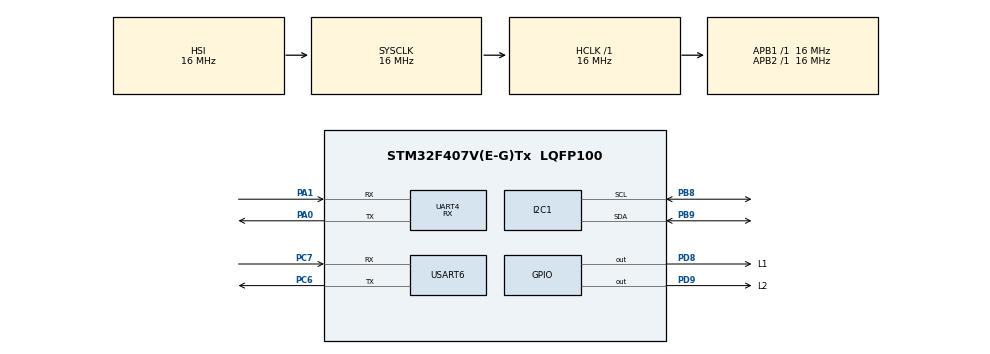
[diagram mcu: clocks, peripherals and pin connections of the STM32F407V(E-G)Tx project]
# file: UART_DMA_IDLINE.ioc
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Dma.Request0=UART4_RX
Dma.Request1=USART6_RX
Dma.UART4_RX.0.Direction=DMA_PERIPH_TO_MEMORY
Dma.UART4_RX.0.FIFOMode=DMA_FIFOMODE_DISABLE
Dma.UART4_RX.0.Instance=DMA1_Stream2
Dma.UART4_RX.0.MemDataAlignment=DMA_MDATAALIGN_BYTE
Dma.UART4_RX.0.MemInc=DMA_MINC_ENABLE
Dma.UART4_RX.0.Mode=DMA_NORMAL
Dma.UART4_RX.0.PeriphDataAlignment=DMA_PDATAALIGN_BYTE
Dma.UART4_RX.0.PeriphInc=DMA_PINC_DISABLE
Dma.UART4_RX.0.Priority=DMA_PRIORITY_LOW
Dma.USART6_RX.1.Direction=DMA_PERIPH_TO_MEMORY
Dma.USART6_RX.1.FIFOMode=DMA_FIFOMODE_DISABLE
Dma.USART6_RX.1.Instance=DMA2_Stream1
Dma.USART6_RX.1.MemDataAlignment=DMA_MDATAALIGN_BYTE
Dma.USART6_RX.1.MemInc=DMA_MINC_ENABLE
Dma.USART6_RX.1.Mode=DMA_NORMAL
Dma.USART6_RX.1.PeriphDataAlignment=DMA_PDATAALIGN_BYTE
Dma.USART6_RX.1.PeriphInc=DMA_PINC_DISABLE
Dma.USART6_RX.1.Priority=DMA_PRIORITY_LOW
Mcu.Family=STM32F4
Mcu.Name=STM32F407V(E-G)Tx
Mcu.Package=LQFP100
NVIC.DMA1_Stream2_IRQn=true\:0\:0\:false\:false\:true\:false\:true\:true
NVIC.DMA2_Stream1_IRQn=true\:0\:0\:false\:false\:true\:false\:true\:true
NVIC.PriorityGroup=NVIC_PRIORITYGROUP_4
NVIC.UART4_IRQn=true\:0\:0\:false\:false\:true\:true\:true\:true
NVIC.USART6_IRQn=true\:0\:0\:false\:false\:true\:true\:true\:true
PA0-WKUP.Mode=Asynchronous
PA0-WKUP.Signal=UART4_TX
PA1.Mode=Asynchronous
PA1.Signal=UART4_RX
PA13.Mode=Serial_Wire
PA13.Signal=SYS_JTMS-SWDIO
PA14.Mode=Serial_Wire
PA14.Signal=SYS_JTCK-SWCLK
PB8.Mode=I2C
PB8.Signal=I2C1_SCL
PB9.Mode=I2C
PB9.Signal=I2C1_SDA
PC14-OSC32_IN.Mode=LSE-External-Oscillator
PC14-OSC32_IN.Signal=RCC_OSC32_IN
PC15-OSC32_OUT.Mode=LSE-External-Oscillator
PC15-OSC32_OUT.Signal=RCC_OSC32_OUT
PC6.Mode=Asynchronous
PC6.Signal=USART6_TX
PC7.Mode=Asynchronous
PC7.Signal=USART6_RX
PD8.GPIO_Label=L1
PD8.Signal=GPIO_Output
PD9.GPIO_Label=L2
PD9.Signal=GPIO_Output
PH0-OSC_IN.Mode=HSE-External-Oscillator
PH0-OSC_IN.Signal=RCC_OSC_IN
PH1-OSC_OUT.Mode=HSE-External-Oscillator
PH1-OSC_OUT.Signal=RCC_OSC_OUT
ProjectManager.HeapSize=0x200
ProjectManager.StackSize=0x400
ProjectManager.TargetToolchain=STM32CubeIDE
RCC.AHBFreq_Value=16000000
RCC.APB1Freq_Value=16000000
RCC.APB2Freq_Value=16000000
RCC.CortexFreq_Value=16000000
RCC.HSE_VALUE=25000000
RCC.HSI_VALUE=16000000
RCC.SYSCLKFreq_VALUE=16000000
RCC.VCOOutputFreq_Value=192000000
UART4.Mode=MODE_RX
UART4.OverSampling=UART_OVERSAMPLING_16
UART4.VirtualMode=Asynchronous
USART6.VirtualMode=VM_ASYNC
board=custom

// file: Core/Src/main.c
/* USER CODE BEGIN Header */
/**
  ******************************************************************************
  * @file           : main.c
  * @brief          : Main program body
  ******************************************************************************
  * @attention
  *
  * Copyright (c) 2023 STMicroelectronics.
  * All rights reserved.
  *
  * This software is licensed under terms that can be found in the LICENSE file
  * in the root directory of this software component.
  * If no LICENSE file comes with this software, it is provided AS-IS.
  *
  ******************************************************************************
  */
/* USER CODE END Header */
#include "main.h"

/* USER CODE BEGIN Includes */
#include"stdio.h"
#include"string.h"
/* USER CODE END Includes */

/* USER CODE BEGIN PTD */
#define Rx_Buf_SIZE 10
#define PUTCHAR_PROTOTYPE int __io_putchar(int ch)
/* USER CODE END PTD */

I2C_HandleTypeDef hi2c1;

UART_HandleTypeDef huart4;
UART_HandleTypeDef huart6;
DMA_HandleTypeDef hdma_uart4_rx;
DMA_HandleTypeDef hdma_usart6_rx;

/* USER CODE BEGIN PV */
uint8_t Rx_Buf[Rx_Buf_SIZE]={0};
uint8_t CARDADD[Rx_Buf_SIZE]={0};
uint8_t Screen_CMD[2]={0};
/* USER CODE END PV */

void SystemClock_Config(void);
static void MX_GPIO_Init(void);
static void MX_DMA_Init(void);
static void MX_I2C1_Init(void);
static void MX_UART4_Init(void);
static void MX_USART6_UART_Init(void);

/* USER CODE BEGIN 0 */
void HAL_UARTEx_RxEventCallback(UART_HandleTypeDef *huart, uint16_t Size)
{
    if (huart->Instance == UART4)
    {
        HAL_UARTEx_ReceiveToIdle_DMA(&huart4, Rx_Buf, Rx_Buf_SIZE);
        __HAL_DMA_DISABLE_IT(&hdma_uart4_rx, DMA_IT_HT);
    }
    if (huart->Instance == USART6)
    {
        HAL_UARTEx_ReceiveToIdle_DMA(&huart6, Screen_CMD, 2);
        __HAL_DMA_DISABLE_IT(&hdma_usart6_rx, DMA_IT_HT);
    }
}

void in(void)
  {
  HAL_UARTEx_ReceiveToIdle_DMA(&huart4, Rx_Buf, Rx_Buf_SIZE);
  __HAL_DMA_DISABLE_IT(&hdma_uart4_rx, DMA_IT_HT);
  Rx_Buf[4]=0;
  for(uint8_t i=0;i<Rx_Buf_SIZE;++i)
  {
	  CARDADD[i]=Rx_Buf[i];
  }
  printf("%s",CARDADD);
  memset(Rx_Buf,0,Rx_Buf_SIZE);
  }
/* USER CODE END 0 */

int main(void)
{

  /* MCU Configuration--------------------------------------------------------*/

  /* Reset of all peripherals, Initializes the Flash interface and the Systick. */
  HAL_Init();

  /* Configure the system clock */
  SystemClock_Config();

  /* Initialize all configured peripherals */
  MX_GPIO_Init();
  MX_DMA_Init();
  MX_I2C1_Init();
  MX_UART4_Init();
  MX_USART6_UART_Init();
  /* USER CODE BEGIN 2 */
  HAL_UARTEx_ReceiveToIdle_DMA(&huart6, Screen_CMD, 2);
  __HAL_DMA_DISABLE_IT(&hdma_usart6_rx, DMA_IT_HT);

  /* USER CODE END 2 */

  /* Infinite loop */
  while (1)
  {

    /* USER CODE BEGIN 3 */
	  if(Screen_CMD[0]==5)
	  {
	  	in();
	  }

  }
  /* USER CODE END 3 */
}

void SystemClock_Config(void)
{
  RCC_OscInitTypeDef RCC_OscInitStruct = {0};
  RCC_ClkInitTypeDef RCC_ClkInitStruct = {0};

  /** Configure the main internal regulator output voltage
  */
  __HAL_RCC_PWR_CLK_ENABLE();
  __HAL_PWR_VOLTAGESCALING_CONFIG(PWR_REGULATOR_VOLTAGE_SCALE1);

  /** Initializes the RCC Oscillators according to the specified parameters
  * in the RCC_OscInitTypeDef structure.
  */
  RCC_OscInitStruct.OscillatorType = RCC_OSCILLATORTYPE_HSI;
  RCC_OscInitStruct.HSIState = RCC_HSI_ON;
  RCC_OscInitStruct.HSICalibrationValue = RCC_HSICALIBRATION_DEFAULT;
  RCC_OscInitStruct.PLL.PLLState = RCC_PLL_NONE;
  if (HAL_RCC_OscConfig(&RCC_OscInitStruct) != HAL_OK)
  {
    Error_Handler();
  }

  /** Initializes the CPU, AHB and APB buses clocks
  */
  RCC_ClkInitStruct.ClockType = RCC_CLOCKTYPE_HCLK|RCC_CLOCKTYPE_SYSCLK
                              |RCC_CLOCKTYPE_PCLK1|RCC_CLOCKTYPE_PCLK2;
  RCC_ClkInitStruct.SYSCLKSource = RCC_SYSCLKSOURCE_HSI;
  RCC_ClkInitStruct.AHBCLKDivider = RCC_SYSCLK_DIV1;
  RCC_ClkInitStruct.APB1CLKDivider = RCC_HCLK_DIV1;
  RCC_ClkInitStruct.APB2CLKDivider = RCC_HCLK_DIV1;

  if (HAL_RCC_ClockConfig(&RCC_ClkInitStruct, FLASH_LATENCY_0) != HAL_OK)
  {
    Error_Handler();
  }
}

static void MX_I2C1_Init(void)
{

  hi2c1.Instance = I2C1;
  hi2c1.Init.ClockSpeed = 100000;
  hi2c1.Init.DutyCycle = I2C_DUTYCYCLE_2;
  hi2c1.Init.OwnAddress1 = 0;
  hi2c1.Init.AddressingMode = I2C_ADDRESSINGMODE_7BIT;
  hi2c1.Init.DualAddressMode = I2C_DUALADDRESS_DISABLE;
  hi2c1.Init.OwnAddress2 = 0;
  hi2c1.Init.GeneralCallMode = I2C_GENERALCALL_DISABLE;
  hi2c1.Init.NoStretchMode = I2C_NOSTRETCH_DISABLE;
  if (HAL_I2C_Init(&hi2c1) != HAL_OK)
  {
    Error_Handler();
  }

}

static void MX_UART4_Init(void)
{

  huart4.Instance = UART4;
  huart4.Init.BaudRate = 115200;
  huart4.Init.WordLength = UART_WORDLENGTH_8B;
  huart4.Init.StopBits = UART_STOPBITS_1;
  huart4.Init.Parity = UART_PARITY_NONE;
  huart4.Init.Mode = UART_MODE_RX;
  huart4.Init.HwFlowCtl = UART_HWCONTROL_NONE;
  huart4.Init.OverSampling = UART_OVERSAMPLING_16;
  if (HAL_UART_Init(&huart4) != HAL_OK)
  {
    Error_Handler();
  }

}

static void MX_USART6_UART_Init(void)
{

  huart6.Instance = USART6;
  huart6.Init.BaudRate = 115200;
  huart6.Init.WordLength = UART_WORDLENGTH_8B;
  huart6.Init.StopBits = UART_STOPBITS_1;
  huart6.Init.Parity = UART_PARITY_NONE;
  huart6.Init.Mode = UART_MODE_TX_RX;
  huart6.Init.HwFlowCtl = UART_HWCONTROL_NONE;
  huart6.Init.OverSampling = UART_OVERSAMPLING_16;
  if (HAL_UART_Init(&huart6) != HAL_OK)
  {
    Error_Handler();
  }

}

static void MX_DMA_Init(void)
{

  /* DMA controller clock enable */
  __HAL_RCC_DMA1_CLK_ENABLE();
  __HAL_RCC_DMA2_CLK_ENABLE();

  /* DMA interrupt init */
  /* DMA1_Stream2_IRQn interrupt configuration */
  HAL_NVIC_SetPriority(DMA1_Stream2_IRQn, 0, 0);
  HAL_NVIC_EnableIRQ(DMA1_Stream2_IRQn);
  /* DMA2_Stream1_IRQn interrupt configuration */
  HAL_NVIC_SetPriority(DMA2_Stream1_IRQn, 0, 0);
  HAL_NVIC_EnableIRQ(DMA2_Stream1_IRQn);

}

static void MX_GPIO_Init(void)
{
  GPIO_InitTypeDef GPIO_InitStruct = {0};

  /* GPIO Ports Clock Enable */
  __HAL_RCC_GPIOC_CLK_ENABLE();
  __HAL_RCC_GPIOH_CLK_ENABLE();
  __HAL_RCC_GPIOA_CLK_ENABLE();
  __HAL_RCC_GPIOD_CLK_ENABLE();
  __HAL_RCC_GPIOB_CLK_ENABLE();

  /*Configure GPIO pin Output Level */
  HAL_GPIO_WritePin(GPIOD, L1_Pin|L2_Pin, GPIO_PIN_RESET);

  /*Configure GPIO pins : L1_Pin L2_Pin */
  GPIO_InitStruct.Pin = L1_Pin|L2_Pin;
  GPIO_InitStruct.Mode = GPIO_MODE_OUTPUT_PP;
  GPIO_InitStruct.Pull = GPIO_NOPULL;
  GPIO_InitStruct.Speed = GPIO_SPEED_FREQ_LOW;
  HAL_GPIO_Init(GPIOD, &GPIO_InitStruct);

}

/* USER CODE BEGIN 4 */
#ifdef __GNUC__
  /* With GCC/RAISONANCE, small printf (option LD Linker->Libraries->Small printf
     set to 'Yes') calls __io_putchar() */
  #define PUTCHAR_PROTOTYPE int __io_putchar(int ch)
#else
  #define PUTCHAR_PROTOTYPE int fputc(int ch, FILE *f)
#endif /* __GNUC__ */
/**
  * @brief  Retargets the C library printf function to the USART.
  * @param  None
  * @retval None
  */
PUTCHAR_PROTOTYPE
{
  /* Place your implementation of fputc here */
  /* e.g. write a character to the EVAL_COM1 and Loop until the end of transmission */
  HAL_UART_Transmit(&huart6, (uint8_t *)&ch, 1, 0xFFFF);  //make changes in the &huart 1,2,3,... accordingly
  return ch;
}
/* USER CODE END 4 */

void Error_Handler(void)
{
  __disable_irq();
  while (1)
  {
  }
}
